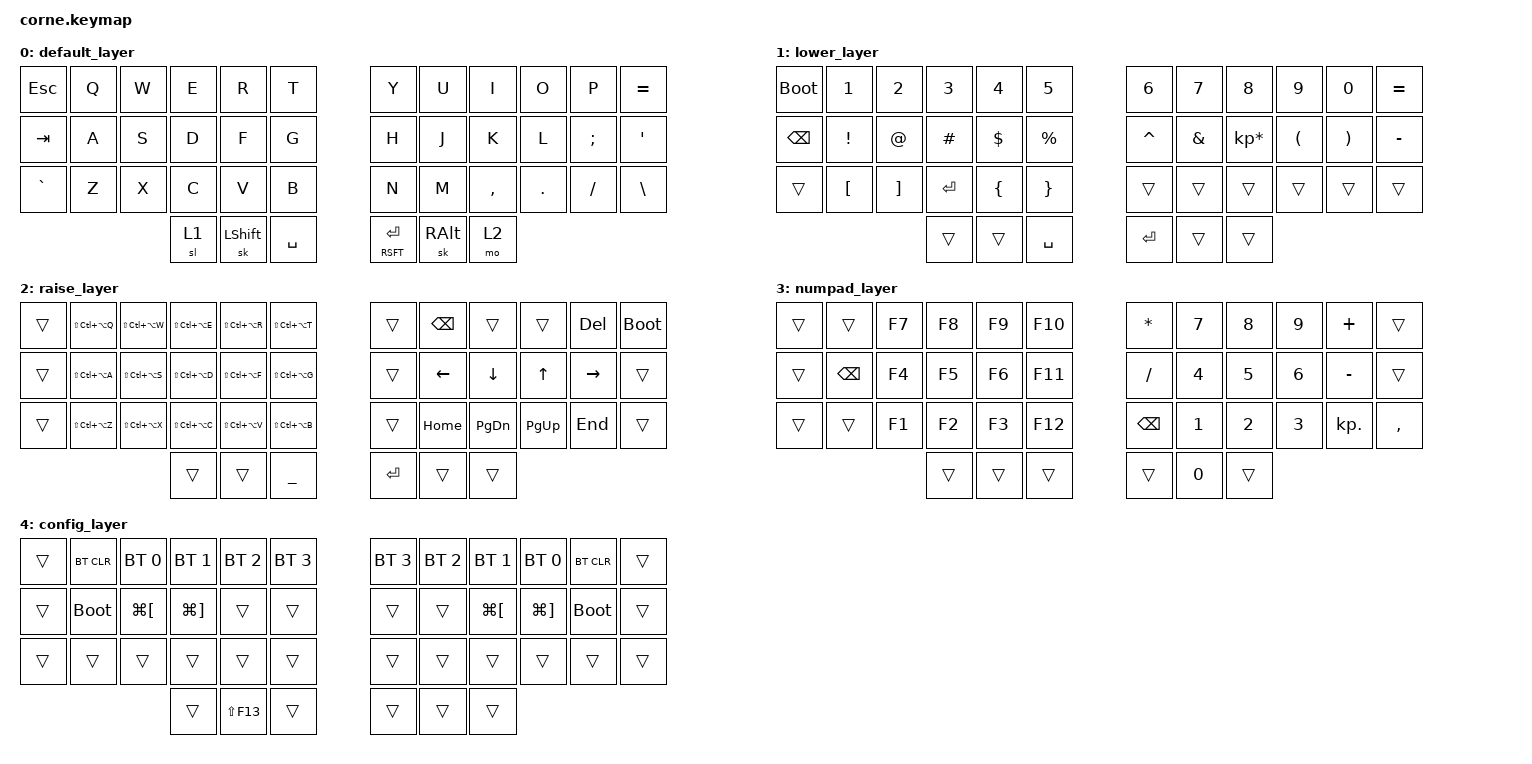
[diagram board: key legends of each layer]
/*
 * Copyright (c) 2020 The ZMK Contributors
 *
 * SPDX-License-Identifier: MIT
 */

#include <behaviors.dtsi>
#include <dt-bindings/zmk/keys.h>
#include <dt-bindings/zmk/bt.h>

/ {
// 0  1  2  3  4  5      6  7  8  9  10 11
// 12 13 14 15 16 17     18 19 20 21 22 23
// 24 25 26 27 28 29     30 31 32 33 34 35
//          36 37 38     39 40 41
  combos {
    compatible = "zmk,combos";

    // home row combos
    combo_lgui {
      key-positions = <15 16>;
      bindings = <&sk LGUI>;
      slow-release;
    };
    combo_lalt {
      key-positions = <14 16>;
      bindings = <&sk LALT>;
      slow-release;
    };
    combo_lctrl {
      key-positions = <13 16>;
      bindings = <&sk LCTRL>;
      slow-release;
    };
    combo_rgui {
      key-positions = <19 20>;
      bindings = <&sk RGUI>;
      slow-release;
    };
    combo_ralt {
      key-positions = <19 21>;
      bindings = <&sk LALT>;
      slow-release;
    };
    combo_rctrl {
      key-positions = <19 22>;
      bindings = <&sk RCTRL>;
      slow-release;
    };

    // fake outer columns
    combo_esc {
      key-positions = <1 2>;
      bindings = <&kp ESC>;
      slow-release;
    };
    combo_tab {
      key-positions = <13 14>;
      bindings = <&kp TAB>;
      slow-release;
    };
    combo_grave {
      key-positions = <25 26>;
      bindings = <&kp GRAVE>;
      slow-release;
    };
    combo_equal {
      key-positions = <9 10>;
      bindings = <&kp EQUAL>;
      slow-release;
    };
    combo_sqt {
      key-positions = <21 22>;
      bindings = <&kp SQT>;
      slow-release;
    };
    combo_bslh {
      key-positions = <33 34>;
      bindings = <&kp BSLH>;
      slow-release;
    };

    // layers
    combo_r_lower {
      key-positions = <19 40>;
      bindings = <&sl 1>;
      slow-release;
    };
    combo_l_raise {
      key-positions = <16 37>;
      bindings = <&sl 2>;
      slow-release;
    };
    combo_r_numpad {
      key-positions = <20 41>;
      bindings = <&sl 3>;
      slow-release;
    };
    combo_l_numpad {
      key-positions = <15 36>;
      bindings = <&sl 3>;
      slow-release;
    };
    combo_r_config {
      key-positions = <18 19>;
      bindings = <&sl 4>;
      slow-release;
    };
    combo_l_config {
      key-positions = <16 17>;
      bindings = <&sl 4>;
      slow-release;
    };
  };

  keymap {
    compatible = "zmk,keymap";

    default_layer {
      bindings = <
&kp ESC   &kp Q &kp W &kp E &kp R     &kp T         &kp Y        &kp U    &kp I     &kp O   &kp P    &kp EQUAL
&kp TAB   &kp A &kp S &kp D &kp F     &kp G         &kp H        &kp J    &kp K     &kp L   &kp SEMI &kp SQT
&kp GRAVE &kp Z &kp X &kp C &kp V     &kp B         &kp N        &kp M    &kp COMMA &kp DOT &kp FSLH &kp BSLH
                      &sl 1 &sk LSHFT &kp SPACE     &mt RSFT RET &sk RALT &mo 2
      >;
    };
    lower_layer {
      bindings = <
&bootloader &kp N1   &kp N2   &kp N3   &kp N4   &kp N5         &kp N6    &kp N7   &kp N8          &kp N9   &kp N0   &kp EQUAL
&kp BSPC    &kp EXCL &kp AT   &kp HASH &kp DLLR &kp PRCNT      &kp CARET &kp AMPS &kp KP_MULTIPLY &kp LPAR &kp RPAR &kp MINUS
&trans      &kp LBKT &kp RBKT &kp RET  &kp LBRC &kp RBRC       &trans    &trans   &trans          &trans   &trans   &trans
                              &trans   &trans   &kp SPACE      &kp RET   &trans   &trans
      >;
    };
    raise_layer {
      bindings = <
&trans &kp LS(LC(LA(Q))) &kp LS(LC(LA(W))) &kp LS(LC(LA(E))) &kp LS(LC(LA(R))) &kp LS(LC(LA(T)))         &trans   &kp BSPC &trans    &trans    &kp DEL   &bootloader
&trans &kp LS(LC(LA(A))) &kp LS(LC(LA(S))) &kp LS(LC(LA(D))) &kp LS(LC(LA(F))) &kp LS(LC(LA(G)))         &trans   &kp LEFT &kp DOWN  &kp UP    &kp RIGHT &trans
&trans &kp LS(LC(LA(Z))) &kp LS(LC(LA(X))) &kp LS(LC(LA(C))) &kp LS(LC(LA(V))) &kp LS(LC(LA(B)))         &trans   &kp HOME &kp PG_DN &kp PG_UP &kp END   &trans
                                           &trans            &trans            &kp UNDER                 &kp RET  &trans   &trans
      >;
    };
    numpad_layer {
      bindings = <
&trans &trans   &kp F7 &kp F8 &kp F9 &kp F10    &kp ASTRK &kp N7 &kp N8 &kp N9 &kp PLUS   &trans
&trans &kp BSPC &kp F4 &kp F5 &kp F6 &kp F11    &kp SLASH &kp N4 &kp N5 &kp N6 &kp MINUS  &trans
&trans &trans   &kp F1 &kp F2 &kp F3 &kp F12    &kp BSPC  &kp N1 &kp N2 &kp N3 &kp KP_DOT &kp COMMA
                       &trans &trans &trans     &trans    &kp N0 &trans
      >;
    };
    config_layer {
      bindings = <
&trans &bt BT_CLR  &bt BT_SEL 0 &bt BT_SEL 1 &bt BT_SEL 2 &bt BT_SEL 3     &bt BT_SEL 3 &bt BT_SEL 2 &bt BT_SEL 1 &bt BT_SEL 0 &bt BT_CLR  &trans
&trans &bootloader &kp LG(LBKT) &kp LG(RBKT) &trans       &trans           &trans       &trans       &kp LG(LBKT) &kp LG(RBKT) &bootloader &trans
&trans &trans      &trans       &trans       &trans       &trans           &trans       &trans       &trans       &trans       &trans      &trans
                                &trans       &kp LS(F13)  &trans           &trans       &trans       &trans
      >;
    };
  };
};
